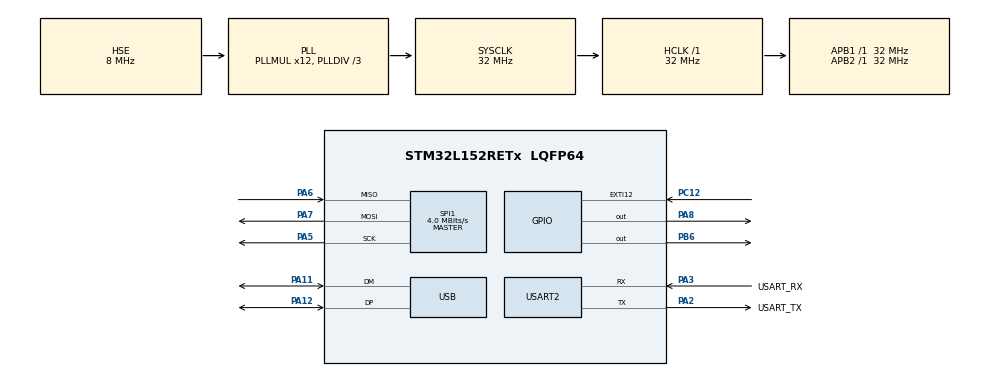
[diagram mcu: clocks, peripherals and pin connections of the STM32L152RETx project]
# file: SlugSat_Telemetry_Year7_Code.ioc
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Mcu.Family=STM32L1
Mcu.Name=STM32L152RETx
Mcu.Package=LQFP64
NVIC.EXTI15_10_IRQn=true\:0\:0\:false\:false\:true\:true\:true\:true
NVIC.PriorityGroup=NVIC_PRIORITYGROUP_0
NVIC.TIM2_IRQn=true\:0\:0\:false\:false\:true\:true\:true\:true
NVIC.USB_LP_IRQn=true\:0\:0\:false\:false\:true\:false\:true\:true
PA11.Mode=Device
PA11.Signal=USB_DM
PA12.Mode=Device
PA12.Signal=USB_DP
PA13.GPIO_Label=TMS
PA13.Mode=Serial_Wire
PA13.Signal=SYS_JTMS-SWDIO
PA14.GPIO_Label=TCK
PA14.Mode=Serial_Wire
PA14.Signal=SYS_JTCK-SWCLK
PA2.GPIO_Label=USART_TX
PA2.Mode=Asynchronous
PA2.Signal=USART2_TX
PA3.GPIO_Label=USART_RX
PA3.Mode=Asynchronous
PA3.Signal=USART2_RX
PA5.Mode=Full_Duplex_Master
PA5.Signal=SPI1_SCK
PA6.Mode=Full_Duplex_Master
PA6.Signal=SPI1_MISO
PA7.Mode=Full_Duplex_Master
PA7.Signal=SPI1_MOSI
PA8.Signal=GPIO_Output
PB3.GPIO_Label=SWO
PB3.Signal=SYS_JTDO-TRACESWO
PB6.Signal=GPIO_Output
PC12.GPIO_ModeDefaultEXTI=GPIO_MODE_IT_FALLING
PC12.Signal=GPXTI12
PC14-OSC32_IN.Mode=LSE-External-Oscillator
PC14-OSC32_IN.Signal=RCC_OSC32_IN
PC15-OSC32_OUT.Mode=LSE-External-Oscillator
PC15-OSC32_OUT.Signal=RCC_OSC32_OUT
PH0-OSC_IN.Mode=HSE-External-Clock-Source
PH0-OSC_IN.Signal=RCC_OSC_IN
PH1-OSC_OUT.Signal=RCC_OSC_OUT
ProjectManager.HeapSize=0x200
ProjectManager.StackSize=0x400
ProjectManager.TargetToolchain=STM32CubeIDE
RCC.48MHZClocksFreq_Value=48000000
RCC.AHBFreq_Value=32000000
RCC.APB1Freq_Value=32000000
RCC.APB1TimFreq_Value=32000000
RCC.APB2Freq_Value=32000000
RCC.APB2TimFreq_Value=32000000
RCC.HCLKFreq_Value=32000000
RCC.HSE_VALUE=8000000
RCC.HSI_VALUE=16000000
RCC.MSI_VALUE=2097000
RCC.PLLDIV=RCC_PLL_DIV3
RCC.PLLMUL=RCC_PLL_MUL12
RCC.RTCClockSelectionVirtual=RCC_RTCCLKSOURCE_LSE
RCC.SYSCLKFreq_VALUE=32000000
RCC.SYSCLKSource=RCC_SYSCLKSOURCE_PLLCLK
RCC.USBOutput=48000000
RCC.VCOOutputFreq_Value=96000000
SPI1.BaudRatePrescaler=SPI_BAUDRATEPRESCALER_8
SPI1.CalculateBaudRate=4.0 MBits/s
SPI1.Direction=SPI_DIRECTION_2LINES
SPI1.Mode=SPI_MODE_MASTER
SPI1.VirtualType=VM_MASTER
USART2.VirtualMode=VM_ASYNC
USB_DEVICE.CLASS_NAME_FS=CDC
USB_DEVICE.VirtualMode=Cdc
USB_DEVICE.VirtualModeFS=Cdc_FS
VP_TIM2_VS_ClockSourceINT.Mode=Internal
VP_USB_DEVICE_VS_USB_DEVICE_CDC_FS.Mode=CDC_FS
board=NUCLEO-L152RE

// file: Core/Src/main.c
/* USER CODE BEGIN Header */
/**
  ******************************************************************************
  * @file           : main.c
  * @brief          : Main program body
  ******************************************************************************
  * @attention
  *
  * Copyright (c) 2023 STMicroelectronics.
  * All rights reserved.
  *
  * This software is licensed under terms that can be found in the LICENSE file
  * in the root directory of this software component.
  * If no LICENSE file comes with this software, it is provided AS-IS.
  *
  ******************************************************************************
  */
/* USER CODE END Header */
#include "main.h"
#include "usb_device.h"

/* USER CODE BEGIN Includes */
#include "usbd_cdc_if.h"
#include "CC1200.h"
#include "CC1200_Registers.h"
#include "Terminal.h"
/* USER CODE END Includes */

SPI_HandleTypeDef hspi1;

TIM_HandleTypeDef htim2;

UART_HandleTypeDef huart2;

/* USER CODE BEGIN PV */

CC1200_t SPI_Info; // structure with MISO data buffer, GPIO CS Port/Pin, and SPI handler
uint8_t MISO_Data[1]; // MISO data buffer
uint8_t RX_Packet[128]; // RX packet

/* RF Parameters
 * Carrier Frequency: 436.499939 MHz
 * Xtal Frequency:    40.000000 MHz
 * Symbol Rate:       56 ksps
 * Bit Rate:          112 kbps
 * RX Filter BW:      185.185185 kHz
 * Modulation Format: 4-GFSK
 * Deviation:         50.048828 kHz
 * TX Power:          14 dBm
 * Manchester Enable: No
 * PA Ramping:        Yes
 * Whitening:         No
 * Performance Mode:  High Performance
 * */

/* Packet TX
 * Length Config:    Variable
 * Preamble Count:   3 bytes
 * Sync Word Length: 16 bits
 * Add Seq. Number
 */

RegisterSetting_t Transmit_Register_Settings[] =
{
	{CC1200_IOCFG3,              0x06},
	{CC1200_IOCFG2,              0x06}, // Smart RF value 0x06
	{CC1200_IOCFG1,              0x30},
	{CC1200_IOCFG0,              0x3C},
	{CC1200_SYNC3,               0x00},
	{CC1200_SYNC2,               0x00},
	{CC1200_SYNC1,               0xD9},
	{CC1200_SYNC0,               0xCC},
	{CC1200_SYNC_CFG1,           0x47},
	{CC1200_SYNC_CFG0,           0x00},
	{CC1200_DEVIATION_M,         0x48},
	{CC1200_MODCFG_DEV_E,        0x2C},
	{CC1200_DCFILT_CFG,          0x4B},
	{CC1200_PREAMBLE_CFG1,       0x14},
	{CC1200_PREAMBLE_CFG0,       0x8A},
	{CC1200_IQIC,                0xEC},
	{CC1200_CHAN_BW,             0x09},
	{CC1200_MDMCFG1,             0x42},
	{CC1200_MDMCFG0,             0x05},
	{CC1200_SYMBOL_RATE2,        0x96},
	{CC1200_SYMBOL_RATE1,        0xF0},
	{CC1200_SYMBOL_RATE0,        0x07},
	{CC1200_AGC_REF,             0x2F},
	{CC1200_AGC_CS_THR,          0xF6},
	{CC1200_AGC_GAIN_ADJUST,     0xDB}, // Smart RF value 0x00 ; changed to 0xDB (-38 dBm offset observed experimentally)
	{CC1200_AGC_CFG3,            0xB1},
	{CC1200_AGC_CFG2,            0x20},
	{CC1200_AGC_CFG1,            0x12},
	{CC1200_AGC_CFG0,            0x84},
	{CC1200_FIFO_CFG,            0x00},
	{CC1200_DEV_ADDR,            0x00},
	{CC1200_SETTLING_CFG,        0x0B},
	{CC1200_FS_CFG,              0x14},
	{CC1200_WOR_CFG1,            0x08},
	{CC1200_WOR_CFG0,            0x21},
	{CC1200_WOR_EVENT0_MSB,      0x00},
	{CC1200_WOR_EVENT0_LSB,      0x00},
	{CC1200_RXDCM_TIME,          0x00},
	{CC1200_PKT_CFG2,            0x00},
	{CC1200_PKT_CFG1,            0x03},
	{CC1200_PKT_CFG0,            0x20},
	{CC1200_RFEND_CFG1,          0x0F},
	{CC1200_RFEND_CFG0,          0x00},
	{CC1200_PA_CFG1,             0x7F}, // Smart RF value 0x7F (14 dBm) ; changed to 0x63 (0 dBm) for RSSI offset measurement
	{CC1200_PA_CFG0,             0x53},
	{CC1200_ASK_CFG,             0x0F},
	{CC1200_PKT_LEN,             0xFF},
};

RegisterSetting_t Transmit_Extended_Register_Settings[] =
{
	{CC1200_IF_MIX_CFG,          0x1C},
	{CC1200_FREQOFF_CFG,         0x20},
	{CC1200_TOC_CFG,             0x03},
	{CC1200_MARC_SPARE,          0x00},
	{CC1200_ECG_CFG,             0x00},
	{CC1200_MDMCFG2,             0x02},
	{CC1200_EXT_CTRL,            0x01},
	{CC1200_RCCAL_FINE,          0x00},
	{CC1200_RCCAL_COURSE,        0x00},
	{CC1200_RCCAL_OFFSET,        0x00},
	{CC1200_FREQOFF1,            0x00},
	{CC1200_FREQOFF0,            0x00},
	{CC1200_FREQ2,               0x57},
	{CC1200_FREQ1,               0x4C},
	{CC1200_FREQ0,               0xCC},
	{CC1200_IF_ADC2,             0x02},
	{CC1200_IF_ADC1,             0xEE},
	{CC1200_IF_ADC0,             0x10},
	{CC1200_FS_DIG1,             0x04},
	{CC1200_FS_DIG0,             0x50},
	{CC1200_FS_CAL3,             0x00},
	{CC1200_FS_CAL2,             0x20},
	{CC1200_FS_CAL1,             0x40},
	{CC1200_FS_CAL0,             0x0E},
	{CC1200_FS_CHP,              0x28},
	{CC1200_FS_DIVTWO,           0x03},
	{CC1200_FS_DSM1,             0x00},
	{CC1200_FS_DSM0,             0x33},
	{CC1200_FS_DVC1,             0xF7},
	{CC1200_FS_DVC0,             0x0F},
	{CC1200_FS_LBI,              0x00},
	{CC1200_FS_PFD,              0x00},
	{CC1200_FS_PRE,              0x6E},
	{CC1200_FS_REG_DIV_CML,      0x1C},
	{CC1200_FS_SPARE,            0xAC},
	{CC1200_FS_VCO4,             0x14},
	{CC1200_FS_VCO3,             0x00},
	{CC1200_FS_VCO2,             0x00},
	{CC1200_FS_VCO1,             0x00},
	{CC1200_FS_VCO0,             0xB5},
	{CC1200_GBIAS6,              0x00},
	{CC1200_GBIAS5,              0x02},
	{CC1200_GBIAS4,              0x00},
	{CC1200_GBIAS3,              0x00},
	{CC1200_GBIAS2,              0x10},
	{CC1200_GBIAS1,              0x00},
	{CC1200_GBIAS0,              0x00},
	{CC1200_IFAMP,               0x09},
	{CC1200_LNA,                 0x01},
	{CC1200_RXMIX,               0x01},
	{CC1200_XOSC5,               0x0E},
	{CC1200_XOSC4,               0xA0},
	{CC1200_XOSC3,               0x03},
	{CC1200_XOSC2,               0x04},
	{CC1200_XOSC1,               0x03},
	{CC1200_XOSC0,               0x00},
	{CC1200_ANALOG_SPARE,        0x00},
	{CC1200_PA_CFG3,             0x00},
	{CC1200_WOR_TIME1,           0x00},
	{CC1200_WOR_TIME0,           0x00},
	{CC1200_WOR_CAPTURE1,        0x00},
	{CC1200_WOR_CAPTURE0,        0x00},
	{CC1200_BIST,                0x00},
	{CC1200_DCFILTOFFSET_I1,     0x00},
	{CC1200_DCFILTOFFSET_I0,     0x00},
	{CC1200_DCFILTOFFSET_Q1,     0x00},
	{CC1200_DCFILTOFFSET_Q0,     0x00},
	{CC1200_IQIE_I1,             0x00},
	{CC1200_IQIE_I0,             0x00},
	{CC1200_IQIE_Q1,             0x00},
	{CC1200_IQIE_Q0,             0x00},
	{CC1200_RSSI1,               0x80},
	{CC1200_RSSI0,               0x00},
	{CC1200_MARCSTATE,           0x41},
	{CC1200_LQI_VAL,             0x00},
	{CC1200_PQT_SYNC_ERR,        0xFF},
	{CC1200_DEM_STATUS,          0x00},
	{CC1200_FREQOFF_EST1,        0x00},
	{CC1200_FREQOFF_EST0,        0x00},
	{CC1200_AGC_GAIN3,           0x00},
	{CC1200_AGC_GAIN2,           0xD1},
	{CC1200_AGC_GAIN1,           0x00},
	{CC1200_AGC_GAIN0,           0x3F},
	{CC1200_CFM_RX_DATA_OUT,     0x00},
	{CC1200_CFM_TX_DATA_IN,      0x00},
	{CC1200_ASK_SOFT_RX_DATA,    0x30},
	{CC1200_RNDGEN,              0x7F},
	{CC1200_MAGN2,               0x00},
	{CC1200_MAGN1,               0x00},
	{CC1200_MAGN0,               0x00},
	{CC1200_ANG1,                0x00},
	{CC1200_ANG0,                0x00},
	{CC1200_CHFILT_I2,           0x02},
	{CC1200_CHFILT_I1,           0x00},
	{CC1200_CHFILT_I0,           0x00},
	{CC1200_CHFILT_Q2,           0x00},
	{CC1200_CHFILT_Q1,           0x00},
	{CC1200_CHFILT_Q0,           0x00},
	{CC1200_GPIO_STATUS,         0x00},
	{CC1200_FSCAL_CTRL,          0x01},
	{CC1200_PHASE_ADJUST,        0x00},
	{CC1200_PARTNUMBER,          0x20},
	{CC1200_PARTVERSION,         0x11},
	{CC1200_SERIAL_STATUS,       0x00},
	{CC1200_MODEM_STATUS1,       0x10},
	{CC1200_MODEM_STATUS0,       0x00},
	{CC1200_MARC_STATUS1,        0x00},
	{CC1200_MARC_STATUS0,        0x00},
	{CC1200_PA_IFAMP_TEST,       0x00},
	{CC1200_FSRF_TEST,           0x00},
	{CC1200_PRE_TEST,            0x00},
	{CC1200_PRE_OVR,             0x00},
	{CC1200_ADC_TEST,            0x00},
	{CC1200_DVC_TEST,            0x0B},
	{CC1200_ATEST,               0x40},
	{CC1200_ATEST_LVDS,          0x00},
	{CC1200_ATEST_MODE,          0x00},
	{CC1200_XOSC_TEST1,          0x3C},
	{CC1200_XOSC_TEST0,          0x00},
	{CC1200_AES,                 0x00},
	{CC1200_MDM_TEST,            0x00},
	{CC1200_RXFIRST,             0x00},
	{CC1200_TXFIRST,             0x00},
	{CC1200_RXLAST,              0x00},
	{CC1200_TXLAST,              0x00},
	{CC1200_NUM_TXBYTES,         0x00},
	{CC1200_NUM_RXBYTES,         0x00},
	{CC1200_FIFO_NUM_TXBYTES,    0x0F},
	{CC1200_FIFO_NUM_RXBYTES,    0x00},
	{CC1200_RXFIFO_PRE_BUF,      0x00},
//	{CC1200_AES_KEY15,           0x00},
//	{CC1200_AES_KEY14,           0x00},
//	{CC1200_AES_KEY13,           0x00},
//	{CC1200_AES_KEY12,           0x00},
//	{CC1200_AES_KEY11,           0x00},
//	{CC1200_AES_KEY10,           0x00},
//	{CC1200_AES_KEY9,            0x00},
//	{CC1200_AES_KEY8,            0x00},
//	{CC1200_AES_KEY7,            0x00},
//	{CC1200_AES_KEY6,            0x00},
//	{CC1200_AES_KEY5,            0x00},
//	{CC1200_AES_KEY4,            0x00},
//	{CC1200_AES_KEY3,            0x00},
//	{CC1200_AES_KEY2,            0x00},
//	{CC1200_AES_KEY1,            0x00},
//	{CC1200_AES_KEY0,            0x00},
//	{CC1200_AES_BUFFER15,        0x00},
//	{CC1200_AES_BUFFER14,        0x00},
//	{CC1200_AES_BUFFER13,        0x00},
//	{CC1200_AES_BUFFER12,        0x00},
//	{CC1200_AES_BUFFER11,        0x00},
//	{CC1200_AES_BUFFER10,        0x00},
//	{CC1200_AES_BUFFER9,         0x00},
//	{CC1200_AES_BUFFER8,         0x00},
//	{CC1200_AES_BUFFER7,         0x00},
//	{CC1200_AES_BUFFER6,         0x00},
//	{CC1200_AES_BUFFER5,         0x00},
//	{CC1200_AES_BUFFER4,         0x00},
//	{CC1200_AES_BUFFER3,         0x00},
//	{CC1200_AES_BUFFER2,         0x00},
//	{CC1200_AES_BUFFER1,         0x00},
//	{CC1200_AES_BUFFER0,         0x00},
};

/* Packet RX
 * Length Config:    Variable
 * Seq. Number Included in Payload
 */

RegisterSetting_t Receive_Register_Settings[] =
{
  {CC1200_IOCFG3,              0x06},
  {CC1200_IOCFG2,              0x06}, // Smart RF value 0x06
  {CC1200_IOCFG1,              0x30},
  {CC1200_IOCFG0,              0x3C},
  {CC1200_SYNC3,               0x00},
  {CC1200_SYNC2,               0x00},
  {CC1200_SYNC1,               0xD9},
  {CC1200_SYNC0,               0xCC},
  {CC1200_SYNC_CFG1,           0x47},
  {CC1200_SYNC_CFG0,           0x00},
  {CC1200_DEVIATION_M,         0x48},
  {CC1200_MODCFG_DEV_E,        0x2C},
  {CC1200_DCFILT_CFG,          0x4B},
  {CC1200_PREAMBLE_CFG1,       0x14},
  {CC1200_PREAMBLE_CFG0,       0x8A},
  {CC1200_IQIC,                0xEC},
  {CC1200_CHAN_BW,             0x09},
  {CC1200_MDMCFG1,             0x42},
  {CC1200_MDMCFG0,             0x05},
  {CC1200_SYMBOL_RATE2,        0x96},
  {CC1200_SYMBOL_RATE1,        0xF0},
  {CC1200_SYMBOL_RATE0,        0x07},
  {CC1200_AGC_REF,             0x29},
  {CC1200_AGC_CS_THR,          0xF6},
  {CC1200_AGC_GAIN_ADJUST,     0xDB}, // Smart RF value 0x00 ; changed to 0xDB (-38 dBm offset observed experimentally)
  {CC1200_AGC_CFG3,            0xB1},
  {CC1200_AGC_CFG2,            0x20},
  {CC1200_AGC_CFG1,            0x12},
  {CC1200_AGC_CFG0,            0x84},
  {CC1200_FIFO_CFG,            0x00},
  {CC1200_DEV_ADDR,            0x00},
  {CC1200_SETTLING_CFG,        0x0B},
  {CC1200_FS_CFG,              0x14},
  {CC1200_WOR_CFG1,            0x08},
  {CC1200_WOR_CFG0,            0x21},
  {CC1200_WOR_EVENT0_MSB,      0x00},
  {CC1200_WOR_EVENT0_LSB,      0x00},
  {CC1200_RXDCM_TIME,          0x00},
  {CC1200_PKT_CFG2,            0x00},
  {CC1200_PKT_CFG1,            0x03},
  {CC1200_PKT_CFG0,            0x20},
  {CC1200_RFEND_CFG1,          0x0F},
  {CC1200_RFEND_CFG0,          0x00},
  {CC1200_PA_CFG1,             0x7F}, // Smart RF value 0x7F -> 14 dbm; ; changed to 0x63 (0 dBm) for RSSI offset measurement
  {CC1200_PA_CFG0,             0x53},
  {CC1200_ASK_CFG,             0x0F},
  {CC1200_PKT_LEN,             0xFF},
};

RegisterSetting_t Receive_Extended_Register_Settings[] =
{
	{CC1200_IF_MIX_CFG,          0x1C},
	{CC1200_FREQOFF_CFG,         0x20},
	{CC1200_TOC_CFG,             0x03},
	{CC1200_MARC_SPARE,          0x00},
	{CC1200_ECG_CFG,             0x00},
	{CC1200_MDMCFG2,             0x02},
	{CC1200_EXT_CTRL,            0x01},
	{CC1200_RCCAL_FINE,          0x00},
	{CC1200_RCCAL_COURSE,        0x00},
	{CC1200_RCCAL_OFFSET,        0x00},
	{CC1200_FREQOFF1,            0x00},
	{CC1200_FREQOFF0,            0x00},
	{CC1200_FREQ2,               0x57},
	{CC1200_FREQ1,               0x4C},
	{CC1200_FREQ0,               0xCC},
	{CC1200_IF_ADC2,             0x02},
	{CC1200_IF_ADC1,             0xEE},
	{CC1200_IF_ADC0,             0x10},
	{CC1200_FS_DIG1,             0x07},
	{CC1200_FS_DIG0,             0xA5},
	{CC1200_FS_CAL3,             0x00},
	{CC1200_FS_CAL2,             0x20},
	{CC1200_FS_CAL1,             0x40},
	{CC1200_FS_CAL0,             0x0E},
	{CC1200_FS_CHP,              0x28},
	{CC1200_FS_DIVTWO,           0x03},
	{CC1200_FS_DSM1,             0x00},
	{CC1200_FS_DSM0,             0x33},
	{CC1200_FS_DVC1,             0xFF},
	{CC1200_FS_DVC0,             0x17},
	{CC1200_FS_LBI,              0x00},
	{CC1200_FS_PFD,              0x00},
	{CC1200_FS_PRE,              0x6E},
	{CC1200_FS_REG_DIV_CML,      0x1C},
	{CC1200_FS_SPARE,            0xAC},
	{CC1200_FS_VCO4,             0x14},
	{CC1200_FS_VCO3,             0x00},
	{CC1200_FS_VCO2,             0x00},
	{CC1200_FS_VCO1,             0x00},
	{CC1200_FS_VCO0,             0xB5},
	{CC1200_GBIAS6,              0x00},
	{CC1200_GBIAS5,              0x02},
	{CC1200_GBIAS4,              0x00},
	{CC1200_GBIAS3,              0x00},
	{CC1200_GBIAS2,              0x10},
	{CC1200_GBIAS1,              0x00},
	{CC1200_GBIAS0,              0x00},
	{CC1200_IFAMP,               0x09},
	{CC1200_LNA,                 0x01},
	{CC1200_RXMIX,               0x01},
	{CC1200_XOSC5,               0x0E},
	{CC1200_XOSC4,               0xA0},
	{CC1200_XOSC3,               0x03},
	{CC1200_XOSC2,               0x04},
	{CC1200_XOSC1,               0x03},
	{CC1200_XOSC0,               0x00},
	{CC1200_ANALOG_SPARE,        0x00},
	{CC1200_PA_CFG3,             0x00},
	{CC1200_WOR_TIME1,           0x00},
	{CC1200_WOR_TIME0,           0x00},
	{CC1200_WOR_CAPTURE1,        0x00},
	{CC1200_WOR_CAPTURE0,        0x00},
	{CC1200_BIST,                0x00},
	{CC1200_DCFILTOFFSET_I1,     0x00},
	{CC1200_DCFILTOFFSET_I0,     0x00},
	{CC1200_DCFILTOFFSET_Q1,     0x00},
	{CC1200_DCFILTOFFSET_Q0,     0x00},
	{CC1200_IQIE_I1,             0x00},
	{CC1200_IQIE_I0,             0x00},
	{CC1200_IQIE_Q1,             0x00},
	{CC1200_IQIE_Q0,             0x00},
	{CC1200_RSSI1,               0x80},
	{CC1200_RSSI0,               0x00},
	{CC1200_MARCSTATE,           0x41},
	{CC1200_LQI_VAL,             0x00},
	{CC1200_PQT_SYNC_ERR,        0xFF},
	{CC1200_DEM_STATUS,          0x00},
	{CC1200_FREQOFF_EST1,        0x00},
	{CC1200_FREQOFF_EST0,        0x00},
	{CC1200_AGC_GAIN3,           0x00},
	{CC1200_AGC_GAIN2,           0xD1},
	{CC1200_AGC_GAIN1,           0x00},
	{CC1200_AGC_GAIN0,           0x3F},
	{CC1200_CFM_RX_DATA_OUT,     0x00},
	{CC1200_CFM_TX_DATA_IN,      0x00},
	{CC1200_ASK_SOFT_RX_DATA,    0x30},
	{CC1200_RNDGEN,              0x7F},
	{CC1200_MAGN2,               0x00},
	{CC1200_MAGN1,               0x00},
	{CC1200_MAGN0,               0x00},
	{CC1200_ANG1,                0x00},
	{CC1200_ANG0,                0x00},
	{CC1200_CHFILT_I2,           0x02},
	{CC1200_CHFILT_I1,           0x00},
	{CC1200_CHFILT_I0,           0x00},
	{CC1200_CHFILT_Q2,           0x00},
	{CC1200_CHFILT_Q1,           0x00},
	{CC1200_CHFILT_Q0,           0x00},
	{CC1200_GPIO_STATUS,         0x00},
	{CC1200_FSCAL_CTRL,          0x01},
	{CC1200_PHASE_ADJUST,        0x00},
	{CC1200_PARTNUMBER,          0x20},
	{CC1200_PARTVERSION,         0x11},
	{CC1200_SERIAL_STATUS,       0x00},
	{CC1200_MODEM_STATUS1,       0x10},
	{CC1200_MODEM_STATUS0,       0x00},
	{CC1200_MARC_STATUS1,        0x00},
	{CC1200_MARC_STATUS0,        0x00},
	{CC1200_PA_IFAMP_TEST,       0x00},
	{CC1200_FSRF_TEST,           0x00},
	{CC1200_PRE_TEST,            0x00},
	{CC1200_PRE_OVR,             0x00},
	{CC1200_ADC_TEST,            0x00},
	{CC1200_DVC_TEST,            0x0B},
	{CC1200_ATEST,               0x40},
	{CC1200_ATEST_LVDS,          0x00},
	{CC1200_ATEST_MODE,          0x00},
	{CC1200_XOSC_TEST1,          0x3C},
	{CC1200_XOSC_TEST0,          0x00},
	{CC1200_AES,                 0x00},
	{CC1200_MDM_TEST,            0x00},
	{CC1200_RXFIRST,             0x00},
	{CC1200_TXFIRST,             0x00},
	{CC1200_RXLAST,              0x00},
	{CC1200_TXLAST,              0x00},
	{CC1200_NUM_TXBYTES,         0x00},
	{CC1200_NUM_RXBYTES,         0x00},
	{CC1200_FIFO_NUM_TXBYTES,    0x0F},
	{CC1200_FIFO_NUM_RXBYTES,    0x00},
	{CC1200_RXFIFO_PRE_BUF,      0x00},
//	{CC1200_AES_KEY15,           0x00},
//	{CC1200_AES_KEY14,           0x00},
//	{CC1200_AES_KEY13,           0x00},
//	{CC1200_AES_KEY12,           0x00},
//	{CC1200_AES_KEY11,           0x00},
//	{CC1200_AES_KEY10,           0x00},
//	{CC1200_AES_KEY9,            0x00},
//	{CC1200_AES_KEY8,            0x00},
//	{CC1200_AES_KEY7,            0x00},
//	{CC1200_AES_KEY6,            0x00},
//	{CC1200_AES_KEY5,            0x00},
//	{CC1200_AES_KEY4,            0x00},
//	{CC1200_AES_KEY3,            0x00},
//	{CC1200_AES_KEY2,            0x00},
//	{CC1200_AES_KEY1,            0x00},
//	{CC1200_AES_KEY0,            0x00},
//	{CC1200_AES_BUFFER15,        0x00},
//	{CC1200_AES_BUFFER14,        0x00},
//	{CC1200_AES_BUFFER13,        0x00},
//	{CC1200_AES_BUFFER12,        0x00},
//	{CC1200_AES_BUFFER11,        0x00},
//	{CC1200_AES_BUFFER10,        0x00},
//	{CC1200_AES_BUFFER9,         0x00},
//	{CC1200_AES_BUFFER8,         0x00},
//	{CC1200_AES_BUFFER7,         0x00},
//	{CC1200_AES_BUFFER6,         0x00},
//	{CC1200_AES_BUFFER5,         0x00},
//	{CC1200_AES_BUFFER4,         0x00},
//	{CC1200_AES_BUFFER3,         0x00},
//	{CC1200_AES_BUFFER2,         0x00},
//	{CC1200_AES_BUFFER1,         0x00},
//	{CC1200_AES_BUFFER0,         0x00},
};

/* USER CODE END PV */

void SystemClock_Config(void);
static void MX_GPIO_Init(void);
static void MX_USART2_UART_Init(void);
static void MX_SPI1_Init(void);
static void MX_TIM2_Init(void);

/* USER CODE BEGIN 0 */

void HAL_GPIO_EXTI_Callback(uint16_t GPIO_Pin)
{
	Read_RX_FIFO();
	Print_Message();
}
/* USER CODE END 0 */

int main(void)
{

	/* MCU Configuration--------------------------------------------------------*/

	/* Reset of all peripherals, Initializes the Flash interface and the Systick. */
	HAL_Init();

	/* Configure the system clock */
	SystemClock_Config();

	/* Initialize all configured peripherals */
	MX_GPIO_Init();
	MX_USART2_UART_Init();
	MX_SPI1_Init();
	MX_USB_DEVICE_Init();
	MX_TIM2_Init();
	/* USER CODE BEGIN 2 */
	CC1200_Init(&SPI_Info, MISO_Data, GPIOB, GPIO_PIN_6, &hspi1);
	/* USER CODE END 2 */

	/* Infinite loop */
	while (1)
	{

	}
}

void SystemClock_Config(void)
{
  RCC_OscInitTypeDef RCC_OscInitStruct = {0};
  RCC_ClkInitTypeDef RCC_ClkInitStruct = {0};

  /** Configure the main internal regulator output voltage
  */
  __HAL_PWR_VOLTAGESCALING_CONFIG(PWR_REGULATOR_VOLTAGE_SCALE1);

  /** Initializes the RCC Oscillators according to the specified parameters
  * in the RCC_OscInitTypeDef structure.
  */
  RCC_OscInitStruct.OscillatorType = RCC_OSCILLATORTYPE_HSE;
  RCC_OscInitStruct.HSEState = RCC_HSE_BYPASS;
  RCC_OscInitStruct.PLL.PLLState = RCC_PLL_ON;
  RCC_OscInitStruct.PLL.PLLSource = RCC_PLLSOURCE_HSE;
  RCC_OscInitStruct.PLL.PLLMUL = RCC_PLL_MUL12;
  RCC_OscInitStruct.PLL.PLLDIV = RCC_PLL_DIV3;
  if (HAL_RCC_OscConfig(&RCC_OscInitStruct) != HAL_OK)
  {
    Error_Handler();
  }

  /** Initializes the CPU, AHB and APB buses clocks
  */
  RCC_ClkInitStruct.ClockType = RCC_CLOCKTYPE_HCLK|RCC_CLOCKTYPE_SYSCLK
                              |RCC_CLOCKTYPE_PCLK1|RCC_CLOCKTYPE_PCLK2;
  RCC_ClkInitStruct.SYSCLKSource = RCC_SYSCLKSOURCE_PLLCLK;
  RCC_ClkInitStruct.AHBCLKDivider = RCC_SYSCLK_DIV1;
  RCC_ClkInitStruct.APB1CLKDivider = RCC_HCLK_DIV1;
  RCC_ClkInitStruct.APB2CLKDivider = RCC_HCLK_DIV1;

  if (HAL_RCC_ClockConfig(&RCC_ClkInitStruct, FLASH_LATENCY_1) != HAL_OK)
  {
    Error_Handler();
  }
}

static void MX_SPI1_Init(void)
{

  /* SPI1 parameter configuration*/
  hspi1.Instance = SPI1;
  hspi1.Init.Mode = SPI_MODE_MASTER;
  hspi1.Init.Direction = SPI_DIRECTION_2LINES;
  hspi1.Init.DataSize = SPI_DATASIZE_8BIT;
  hspi1.Init.CLKPolarity = SPI_POLARITY_LOW;
  hspi1.Init.CLKPhase = SPI_PHASE_1EDGE;
  hspi1.Init.NSS = SPI_NSS_SOFT;
  hspi1.Init.BaudRatePrescaler = SPI_BAUDRATEPRESCALER_8;
  hspi1.Init.FirstBit = SPI_FIRSTBIT_MSB;
  hspi1.Init.TIMode = SPI_TIMODE_DISABLE;
  hspi1.Init.CRCCalculation = SPI_CRCCALCULATION_DISABLE;
  hspi1.Init.CRCPolynomial = 10;
  if (HAL_SPI_Init(&hspi1) != HAL_OK)
  {
    Error_Handler();
  }

}

static void MX_TIM2_Init(void)
{

  TIM_ClockConfigTypeDef sClockSourceConfig = {0};
  TIM_MasterConfigTypeDef sMasterConfig = {0};

  htim2.Instance = TIM2;
  htim2.Init.Prescaler = 0;
  htim2.Init.CounterMode = TIM_COUNTERMODE_UP;
  htim2.Init.Period = 65535;
  htim2.Init.ClockDivision = TIM_CLOCKDIVISION_DIV1;
  htim2.Init.AutoReloadPreload = TIM_AUTORELOAD_PRELOAD_DISABLE;
  if (HAL_TIM_Base_Init(&htim2) != HAL_OK)
  {
    Error_Handler();
  }
  sClockSourceConfig.ClockSource = TIM_CLOCKSOURCE_INTERNAL;
  if (HAL_TIM_ConfigClockSource(&htim2, &sClockSourceConfig) != HAL_OK)
  {
    Error_Handler();
  }
  sMasterConfig.MasterOutputTrigger = TIM_TRGO_RESET;
  sMasterConfig.MasterSlaveMode = TIM_MASTERSLAVEMODE_DISABLE;
  if (HAL_TIMEx_MasterConfigSynchronization(&htim2, &sMasterConfig) != HAL_OK)
  {
    Error_Handler();
  }

}

static void MX_USART2_UART_Init(void)
{

  huart2.Instance = USART2;
  huart2.Init.BaudRate = 115200;
  huart2.Init.WordLength = UART_WORDLENGTH_8B;
  huart2.Init.StopBits = UART_STOPBITS_1;
  huart2.Init.Parity = UART_PARITY_NONE;
  huart2.Init.Mode = UART_MODE_TX_RX;
  huart2.Init.HwFlowCtl = UART_HWCONTROL_NONE;
  huart2.Init.OverSampling = UART_OVERSAMPLING_16;
  if (HAL_UART_Init(&huart2) != HAL_OK)
  {
    Error_Handler();
  }

}

static void MX_GPIO_Init(void)
{
  GPIO_InitTypeDef GPIO_InitStruct = {0};

  /* GPIO Ports Clock Enable */
  __HAL_RCC_GPIOC_CLK_ENABLE();
  __HAL_RCC_GPIOH_CLK_ENABLE();
  __HAL_RCC_GPIOA_CLK_ENABLE();
  __HAL_RCC_GPIOB_CLK_ENABLE();

  /*Configure GPIO pin Output Level */
  HAL_GPIO_WritePin(GPIOA, GPIO_PIN_8, GPIO_PIN_RESET);

  /*Configure GPIO pin Output Level */
  HAL_GPIO_WritePin(GPIOB, GPIO_PIN_6, GPIO_PIN_RESET);

  /*Configure GPIO pin : PA8 */
  GPIO_InitStruct.Pin = GPIO_PIN_8;
  GPIO_InitStruct.Mode = GPIO_MODE_OUTPUT_PP;
  GPIO_InitStruct.Pull = GPIO_NOPULL;
  GPIO_InitStruct.Speed = GPIO_SPEED_FREQ_LOW;
  HAL_GPIO_Init(GPIOA, &GPIO_InitStruct);

  /*Configure GPIO pin : PC12 */
  GPIO_InitStruct.Pin = GPIO_PIN_12;
  GPIO_InitStruct.Mode = GPIO_MODE_IT_FALLING;
  GPIO_InitStruct.Pull = GPIO_NOPULL;
  HAL_GPIO_Init(GPIOC, &GPIO_InitStruct);

  /*Configure GPIO pin : PB6 */
  GPIO_InitStruct.Pin = GPIO_PIN_6;
  GPIO_InitStruct.Mode = GPIO_MODE_OUTPUT_PP;
  GPIO_InitStruct.Pull = GPIO_NOPULL;
  GPIO_InitStruct.Speed = GPIO_SPEED_FREQ_LOW;
  HAL_GPIO_Init(GPIOB, &GPIO_InitStruct);

  /* EXTI interrupt init*/
  HAL_NVIC_SetPriority(EXTI15_10_IRQn, 0, 0);
  HAL_NVIC_EnableIRQ(EXTI15_10_IRQn);

}

void Error_Handler(void)
{
	__disable_irq();
	while (1)
	{
	}
}
